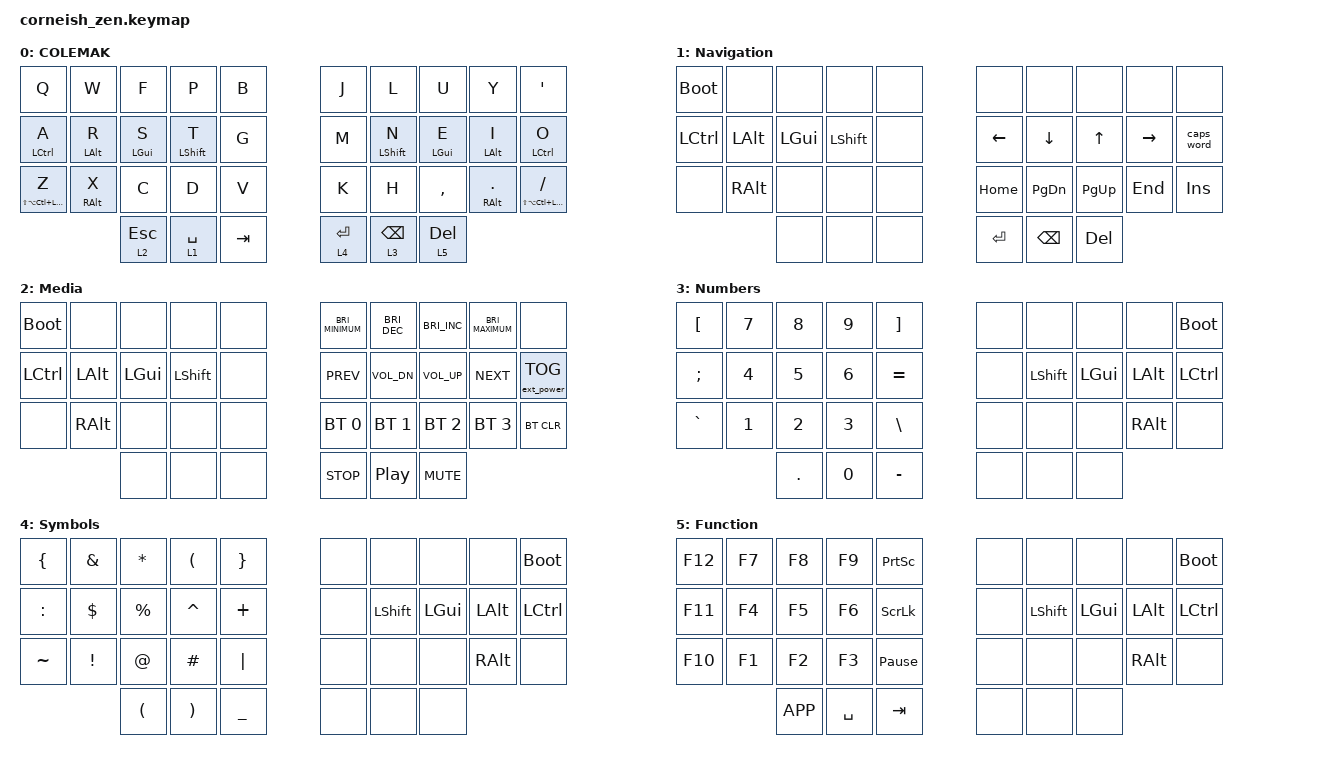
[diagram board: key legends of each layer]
#include <behaviors.dtsi>
#include <dt-bindings/zmk/bt.h>
#include <dt-bindings/zmk/ext_power.h>
#include <dt-bindings/zmk/keys.h>

/ {
    chosen {
        //zmk,matrix_transform = &default_transform;

        zmk,matrix_transform = &five_column_transform;
    };
};

/ {
    behaviors {
        hrm_left: hrm_left {
            compatible = "zmk,behavior-hold-tap";
            label = "HRM_LEFT";
            bindings = <&kp>, <&kp>;

            #binding-cells = <2>;
            tapping-term-ms = <200>;
            flavor = "balanced";
            hold-trigger-key-positions = <5 6 7 8 9 19 18 17 16 15 25 26 27 28 29 33 34 35 20 22 23 24 30 31 32 0 1 2 3 4 14>;
            hold-trigger-on-release;
        };

        hrm_right: hrm_right {
            compatible = "zmk,behavior-hold-tap";
            label = "HRM_RIGHT";
            bindings = <&kp>, <&kp>;

            #binding-cells = <2>;
            tapping-term-ms = <200>;
            flavor = "balanced";
            hold-trigger-key-positions = <0 10 20 21 11 1 2 3 4 11 12 13 14 21 22 23 24 30 31 32 5 6 5 6 7 8 9 15 25 26 27 29 33 34 35>;
            hold-trigger-on-release;
        };
    };

    combos {
        compatible = "zmk,combos";

        left_bracket {
            bindings = <&kp LEFT_BRACKET>;
            key-positions = <3 4>;
            layers = <0>;
            slow-release;
        };

        left_paren {
            bindings = <&kp LEFT_PARENTHESIS>;
            key-positions = <13 14>;
            layers = <0>;
            slow-release;
        };

        left_curly {
            bindings = <&kp LEFT_BRACE>;
            key-positions = <23 24>;
            layers = <0>;
            slow-release;
        };

        right_bracket {
            bindings = <&kp RIGHT_BRACKET>;
            key-positions = <6 5>;
            layers = <0>;
            slow-release;
        };

        right_paren {
            bindings = <&kp RIGHT_PARENTHESIS>;
            key-positions = <16 15>;
            layers = <0>;
            slow-release;
        };

        right_curly {
            bindings = <&kp RIGHT_BRACE>;
            key-positions = <26 25>;
            layers = <0>;
            slow-release;
        };
    };

    keymap {
        compatible = "zmk,keymap";

        base {
            label = "COLEMAK";
            bindings = <
  &kp Q                   &kp W                 &kp F             &kp P               &kp B      &kp J        &kp L               &kp U              &kp Y                   &kp SQT
  &hrm_left LCTRL A       &hrm_left LEFT_ALT R  &hrm_left LGUI S  &hrm_left LSHIFT T  &kp G      &kp M        &hrm_right LSHFT N  &hrm_right LGUI E  &hrm_right LALT I       &hrm_right LEFT_CONTROL O
  &mt LS(LA(LC(LGUI))) Z  &hrm_left RALT X      &kp C             &kp D               &kp V      &kp K        &kp H               &kp COMMA          &hrm_right RALT PERIOD  &mt LS(LA(LC(LGUI))) SLASH
                                                &lt 2 ESC         &lt 1 SPACE         &kp TAB    &lt 4 ENTER  &lt 3 BACKSPACE     &lt 5 DELETE
            >;
        };

        nav {
            label = "Navigation";
            bindings = <
  &bootloader       &none          &none         &none           &none    &none      &none          &none       &none      &none
  &kp LEFT_CONTROL  &kp LEFT_ALT   &kp LEFT_GUI  &kp LEFT_SHIFT  &none    &kp LEFT   &kp DOWN       &kp UP      &kp RIGHT  &caps_word
  &none             &kp RIGHT_ALT  &none         &none           &none    &kp HOME   &kp PG_DN      &kp PG_UP   &kp END    &kp INS
                                   &none         &none           &none    &kp ENTER  &kp BACKSPACE  &kp DELETE
            >;
        };

        media {
            bindings = <
  &bootloader  &none     &none     &none      &none    &kp C_BRIGHTNESS_MINIMUM  &kp C_BRIGHTNESS_DEC  &kp C_BRIGHTNESS_INC  &kp C_BRIGHTNESS_MAXIMUM  &none
  &kp LCTRL    &kp LALT  &kp LGUI  &kp LSHFT  &none    &kp C_PREV                &kp C_VOL_DN          &kp C_VOL_UP          &kp C_NEXT                &ext_power EP_TOG
  &none        &kp RALT  &none     &none      &none    &bt BT_SEL 0              &bt BT_SEL 1          &bt BT_SEL 2          &bt BT_SEL 3              &bt BT_CLR
                         &none     &none      &none    &kp C_STOP                &kp C_PP              &kp C_MUTE
            >;

            label = "Media";
        };

        num {
            bindings = <
  &kp LEFT_BRACKET  &kp N7  &kp N8   &kp N9        &kp RIGHT_BRACKET    &none  &none      &none     &none     &bootloader
  &kp SEMI          &kp N4  &kp N5   &kp N6        &kp EQUAL            &none  &kp LSHFT  &kp LGUI  &kp LALT  &kp LEFT_CONTROL
  &kp GRAVE         &kp N1  &kp N2   &kp N3        &kp BACKSLASH        &none  &none      &none     &kp RALT  &none
                            &kp DOT  &kp NUMBER_0  &kp MINUS            &none  &none      &none
            >;

            label = "Numbers";
        };

        sym {
            bindings = <
  &kp LBRC   &kp AMPS    &kp STAR              &kp LPAR               &kp RBRC     &none  &none      &none     &none     &bootloader
  &kp COLON  &kp DOLLAR  &kp PERCENT           &kp CARET              &kp PLUS     &none  &kp LSHFT  &kp LGUI  &kp LALT  &kp LEFT_CONTROL
  &kp TILDE  &kp EXCL    &kp AT                &kp POUND              &kp PIPE     &none  &none      &none     &kp RALT  &none
                         &kp LEFT_PARENTHESIS  &kp RIGHT_PARENTHESIS  &kp UNDER    &none  &none      &none
            >;

            label = "Symbols";
        };

        fun {
            bindings = <
  &kp F12  &kp F7  &kp F8     &kp F9     &kp PRINTSCREEN    &none  &none      &none     &none     &bootloader
  &kp F11  &kp F4  &kp F5     &kp F6     &kp SCROLLLOCK     &none  &kp LSHFT  &kp LGUI  &kp LALT  &kp LCTRL
  &kp F10  &kp F1  &kp F2     &kp F3     &kp PAUSE_BREAK    &none  &none      &none     &kp RALT  &none
                   &kp K_APP  &kp SPACE  &kp TAB            &none  &none      &none
            >;

            label = "Function";
        };
    };
};
